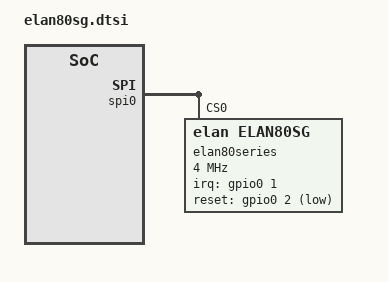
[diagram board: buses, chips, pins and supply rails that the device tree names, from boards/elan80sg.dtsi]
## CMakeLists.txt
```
# Copyright 2025 The ChromiumOS Authors
# Use of this source code is governed by a BSD-style license that can be
# found in the LICENSE file.

cmake_minimum_required(VERSION 3.13.1)
find_package(Zephyr REQUIRED HINTS "${ZEPHYR_BASE}")
project(elan80series_test)

FILE(GLOB app_sources src/*.c)
target_sources(app PRIVATE ${app_sources})

# Add fingerprint drivers directory to include fingerprint_elan80series_pal.h
target_include_directories(app PUBLIC ${PLATFORM_EC}/zephyr/drivers/fingerprint)
```

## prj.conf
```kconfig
# Copyright 2025 The ChromiumOS Authors
# Use of this source code is governed by a BSD-style license that can be
# found in the LICENSE file.

CONFIG_ZTEST=y
CONFIG_EMUL=y
CONFIG_GPIO=y
CONFIG_SPI=y
CONFIG_PM_DEVICE=y
CONFIG_FINGERPRINT_SENSOR=y
CONFIG_APPLICATION_DEFINED_SYSCALL=y
CONFIG_UART_NATIVE_PTY_0_ON_STDINOUT=y
```

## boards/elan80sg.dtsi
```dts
/* Copyright 2025 The ChromiumOS Authors
 * Use of this source code is governed by a BSD-style license that can be
 * found in the LICENSE file.
 */

#define ELAN80SG_COMMON_IMAGE_PROPS \
	width = <80>; \
	height = <80>; \
	bits-per-pixel = <14>; \
	frame-size = <12800>; \
	image-data-offset-bytes = <0>; \
	v4l2-pixel-format = "V4L2_PIX_FMT_GREY";

&spi0 {
	elan80series: elan80sg@0 {
		compatible = "elan,elan80sg";
		reg = <0>;
		spi-max-frequency = <4000000>;

		configs {
			compatible = "fingerprint-image-frame-params";
			config0 {
				ELAN80SG_COMMON_IMAGE_PROPS
				capture-type = "FINGERPRINT_CAPTURE_TYPE_VENDOR_FORMAT";
			};
			config1 {
				ELAN80SG_COMMON_IMAGE_PROPS
				capture-type = "FINGERPRINT_CAPTURE_TYPE_SIMPLE_IMAGE";
			};
			config2 {
				ELAN80SG_COMMON_IMAGE_PROPS
				capture-type = "FINGERPRINT_CAPTURE_TYPE_PATTERN0";
			};
			config3 {
				ELAN80SG_COMMON_IMAGE_PROPS
				capture-type = "FINGERPRINT_CAPTURE_TYPE_PATTERN1";
			};
			config4 {
				ELAN80SG_COMMON_IMAGE_PROPS
				capture-type = "FINGERPRINT_CAPTURE_TYPE_QUALITY_TEST";
			};
			config5 {
				ELAN80SG_COMMON_IMAGE_PROPS
				capture-type = "FINGERPRINT_CAPTURE_TYPE_RESET_TEST";
			};
		};

		irq-gpios = <&gpio0 1 GPIO_ACTIVE_HIGH>;
		reset-gpios = <&gpio0 2 GPIO_ACTIVE_LOW>;
	};
};
```

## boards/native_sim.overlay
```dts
/* Copyright 2025 The ChromiumOS Authors
 * Use of this source code is governed by a BSD-style license that can be
 * found in the LICENSE file.
 */

/ {
	chosen {
		cros-fp,fingerprint-sensor = &elan80series;
	};
};
```

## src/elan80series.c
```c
// Copyright 2025 The ChromiumOS Authors
// Use of this source code is governed by a BSD-style license that can be
// found in the LICENSE file.

#include "elan80series_pal_test_helpers.h"

#include <zephyr/device.h>
#include <zephyr/devicetree.h>
#include <zephyr/drivers/emul.h>
#include <zephyr/drivers/gpio.h>
#include <zephyr/drivers/gpio/gpio_emul.h>
#include <zephyr/fff.h>
#include <zephyr/sys/byteorder.h>
#include <zephyr/sys/util.h>
#include <zephyr/ztest.h>
#include <zephyr/ztest_assert.h>

#include <drivers/fingerprint.h>
#include <emul/emul_elan80series.h>
#include <fingerprint/v4l2_types.h>
#include <fingerprint_elan80series.h>
#include <fingerprint_elan80series_private.h>

DEFINE_FFF_GLOBALS;

struct elan80series_fixture {
	const struct device *dev;
	const struct emul *target;
};

static void *elan80series_setup(void)
{
	static struct elan80series_fixture fixture = {
		.dev = DEVICE_DT_GET(DT_NODELABEL(elan80series)),
		.target = EMUL_DT_GET(DT_NODELABEL(elan80series)),
	};

	zassert_not_null(fixture.dev);
	zassert_not_null(fixture.target);
	return &fixture;
}

/* Converts capture types from the ec domain to the fpc domain. */
enum elan_capture_type convert_fp_capture_type_to_elan_capture_type(
	enum fingerprint_capture_type mode);

#define ELAN80SERIES_IMAGE_FRAME_PARAM_INITIALIZER(idx, node_id)            \
	{                                                                   \
		.frame_size = FINGERPRINT_SENSOR_FRAME_SIZE(idx, node_id),  \
		.image_data_offset_bytes =                                  \
			FINGERPRINT_SENSOR_IMAGE_OFFSET(idx, node_id),      \
		.pixel_format =                                             \
			FINGERPRINT_SENSOR_V4L2_PIXEL_FORMAT(idx, node_id), \
		.width = FINGERPRINT_SENSOR_RES_X(idx, node_id),            \
		.height = FINGERPRINT_SENSOR_RES_Y(idx, node_id),           \
		.bpp = FINGERPRINT_SENSOR_RES_BPP(idx, node_id),            \
		.fp_capture_type =                                          \
			FINGERPRINT_SENSOR_CAPTURE_TYPE(idx, node_id),      \
		.reserved = 0,                                              \
	}

static const struct fingerprint_image_frame_params
	expected_image_frame_params_array[] = { LISTIFY(
		NUM_IMAGE_CAPTURE_TYPES,
		ELAN80SERIES_IMAGE_FRAME_PARAM_INITIALIZER, (, ),
		DT_NODELABEL(elan80series)) };

ZTEST_SUITE(elan80series, NULL, elan80series_setup, NULL, NULL, NULL);

ZTEST_F(elan80series, test_convert_fp_capture_type_to_elan_capture_type)
{
	zassert_equal(convert_fp_capture_type_to_elan_capture_type(
			      FINGERPRINT_CAPTURE_TYPE_VENDOR_FORMAT),
		      ELAN_CAPTURE_VENDOR_FORMAT);
	zassert_equal(convert_fp_capture_type_to_elan_capture_type(
			      FINGERPRINT_CAPTURE_TYPE_SIMPLE_IMAGE),
		      ELAN_CAPTURE_SIMPLE_IMAGE);
	zassert_equal(convert_fp_capture_type_to_elan_capture_type(
			      FINGERPRINT_CAPTURE_TYPE_PATTERN0),
		      ELAN_CAPTURE_PATTERN0);
	zassert_equal(convert_fp_capture_type_to_elan_capture_type(
			      FINGERPRINT_CAPTURE_TYPE_PATTERN1),
		      ELAN_CAPTURE_PATTERN1);
	zassert_equal(convert_fp_capture_type_to_elan_capture_type(
			      FINGERPRINT_CAPTURE_TYPE_QUALITY_TEST),
		      ELAN_CAPTURE_QUALITY_TEST);
	zassert_equal(convert_fp_capture_type_to_elan_capture_type(
			      FINGERPRINT_CAPTURE_TYPE_RESET_TEST),
		      ELAN_CAPTURE_RESET_TEST);
	zassert_equal(convert_fp_capture_type_to_elan_capture_type(
			      FINGERPRINT_CAPTURE_TYPE_MAX),
		      ELAN_CAPTURE_TYPE_INVALID);
}

ZTEST_F(elan80series, test_init_success)
{
	zassert_ok(fingerprint_init(fixture->dev));
}

ZTEST_F(elan80series, test_init_failure_bad_hwid)
{
	elan80series_set_hwid(fixture->target, 0x0, 0x0);
	zassert_equal(fingerprint_init(fixture->dev), -ENOTSUP);
}

ZTEST_F(elan80series, test_init_failure_spi)
{
	struct fingerprint_sensor_info sensor_info;
	struct fingerprint_image_frame_params
		image_frame_params_array[NUM_IMAGE_CAPTURE_TYPES];
	uint8_t num_params = NUM_IMAGE_CAPTURE_TYPES;

	elan80series_stop_spi(fixture->target);
	zassert_equal(fingerprint_init(fixture->dev), -ENOTSUP);
	zassert_not_ok(fingerprint_get_info(fixture->dev, &sensor_info,
					    image_frame_params_array,
					    &num_params));
	elan80series_start_spi(fixture->target);
	zassert_ok(fingerprint_get_info(fixture->dev, &sensor_info,
					image_frame_params_array, &num_params));
	zassert_equal(sensor_info.errors,
		      (FINGERPRINT_ERROR_DEAD_PIXELS_UNKNOWN |
		       FINGERPRINT_ERROR_SPI_COMM | FINGERPRINT_ERROR_BAD_HWID |
		       FINGERPRINT_ERROR_INIT_FAIL));
}

ZTEST_F(elan80series, test_get_info)
{
	struct fingerprint_sensor_info sensor_info;
	struct fingerprint_image_frame_params
		image_frame_params_array[NUM_IMAGE_CAPTURE_TYPES];
	uint8_t num_params = NUM_IMAGE_CAPTURE_TYPES;

	/* We need to initialize driver first to initialize 'error' field */
	zassert_ok(fingerprint_init(fixture->dev));
	zassert_ok(fingerprint_get_info(fixture->dev, &sensor_info,
					image_frame_params_array, &num_params));
	zassert_equal(
		num_params, NUM_IMAGE_CAPTURE_TYPES,
		"fingerprint_get_info returned an unexpected number of params");

#if defined(CONFIG_FINGERPRINT_SENSOR_ELAN80SG)
	zassert_equal(sensor_info.product_id, 0x0903);
	zassert_equal(sensor_info.model_id, 0x4f4f);
	zassert_equal(sensor_info.version, 0x100B);
#endif
	zassert_equal(sensor_info.vendor_id, FOURCC('E', 'L', 'A', 'N'));
	zassert_equal(sensor_info.errors,
		      FINGERPRINT_ERROR_DEAD_PIXELS_UNKNOWN);

	for (int i = 0; i < NUM_IMAGE_CAPTURE_TYPES; ++i) {
		zassert_equal(
			memcmp(&image_frame_params_array[i],
			       &expected_image_frame_params_array[i],
			       sizeof(struct fingerprint_image_frame_params)),
			0, "Struct comparison failed at index %d", i);
	}
}

ZTEST_F(elan80series, test_deinit_success)
{
	zassert_ok(fingerprint_deinit(fixture->dev));
}

ZTEST_F(elan80series, test_enter_idle)
{
	zassert_ok(fingerprint_set_mode(fixture->dev,
					FINGERPRINT_SENSOR_MODE_IDLE));
}

ZTEST_F(elan80series, test_invalid_mode_not_supported)
{
	zassert_equal(fingerprint_set_mode(fixture->dev, UINT16_MAX), -ENOTSUP);
}

ZTEST_F(elan80series, test_maintenance_image_small_buffer_size)
{
	uint8_t buffer[CONFIG_FINGERPRINT_SENSOR_IMAGE_SIZE - 1];

	zassert_equal(fingerprint_maintenance(fixture->dev, buffer,
					      sizeof(buffer)),
		      -EINVAL);
}

ZTEST_F(elan80series, test_maintenance_not_supported)
{
	uint8_t buffer[CONFIG_FINGERPRINT_SENSOR_IMAGE_SIZE];

	zassert_equal(fingerprint_maintenance(fixture->dev, buffer,
					      sizeof(buffer)),
		      0);
}

ZTEST_F(elan80series, test_finger_status_not_supported)
{
	zassert_equal(fingerprint_finger_status(fixture->dev), -ENOTSUP);
}

FAKE_VOID_FUNC(test_interrupt_handler, const struct device *);

ZTEST_F(elan80series, test_interrupt)
{
	const struct gpio_dt_spec spec =
		GPIO_DT_SPEC_GET(DT_NODELABEL(elan80series), irq_gpios);

	RESET_FAKE(test_interrupt_handler);
	zassert_ok(fingerprint_config(fixture->dev, test_interrupt_handler));

	/* Enable interrupt (they are disabled by default). */
	zassert_ok(gpio_pin_interrupt_configure_dt(&spec,
						   GPIO_INT_EDGE_TO_ACTIVE));

	/*
	 * Toggle the GPIO twice. We expect that the driver will disable
	 * interrupt in interrupt handler, so handler should be called once.
	 */
	for (int i = 0; i < 2; i++) {
		gpio_emul_input_set(spec.port, spec.pin, 1);
		k_msleep(5);
		gpio_emul_input_set(spec.port, spec.pin, 0);
		k_msleep(5);
	}

	/* Verify the handler was called once. */
	zassert_equal(test_interrupt_handler_fake.call_count, 1);
}

ZTEST_F(elan80series, test_acquire_image_not_supported)
{
	uint8_t buffer[CONFIG_FINGERPRINT_SENSOR_IMAGE_SIZE];

	zassert_equal(fingerprint_acquire_image(fixture->dev, 0, buffer,
						sizeof(buffer)),
		      -ENOTSUP);
}

ZTEST_F(elan80series, test_acquire_image_small_buffer_size)
{
	uint8_t buffer[CONFIG_FINGERPRINT_SENSOR_IMAGE_SIZE] = { 0 };
	size_t image_buf_size = CONFIG_FINGERPRINT_SENSOR_IMAGE_SIZE - 1;
	enum fingerprint_capture_type capture_type =
		FINGERPRINT_CAPTURE_TYPE_VENDOR_FORMAT;

	zassert_equal(fingerprint_acquire_image(fixture->dev, capture_type,
						buffer, image_buf_size),
		      -EINVAL);
}

ZTEST_F(elan80series, test_acquire_image_wrong_capture_type)
{
	uint8_t buffer[CONFIG_FINGERPRINT_SENSOR_IMAGE_SIZE] = { 0 };
	enum fingerprint_capture_type capture_type =
		FINGERPRINT_CAPTURE_TYPE_MAX;

	zassert_equal(fingerprint_acquire_image(fixture->dev, capture_type,
						buffer, sizeof(buffer)),
		      -EINVAL);
}

ZTEST_F(elan80series, test_elan_read_register)
{
	uint8_t hwid_lo_cmd = 0x04;
	uint8_t hwid_hi_cmd = 0x02;
	uint8_t regdata = 0;
	uint8_t expected_hwid_lo_regdata = 0x4F;
	uint8_t expected_hwid_hi_regdata = 0x4F;

	zassert_ok(elan80series_pal_read_register(hwid_lo_cmd, &regdata));
	zassert_equal(expected_hwid_lo_regdata, regdata);

	zassert_ok(elan80series_pal_read_register(hwid_hi_cmd, &regdata));
	zassert_equal(expected_hwid_hi_regdata, regdata);
}

ZTEST_F(elan80series, test_elan_read_register_spi_stoppped)
{
	uint8_t hwid_lo_cmd = 0x04;
	uint8_t regdata = 0;

	elan80series_stop_spi(fixture->target);
	zassert_equal(elan80series_pal_read_register(hwid_lo_cmd, &regdata),
		      -EIO);
}

ZTEST_F(elan80series, test_elan_read_cmd)
{
	uint8_t cmd_hwid_lo_cmd = 0x44;
	uint8_t cmd_hwid_hi_cmd = 0x42;
	uint8_t regdata = 0;
	uint8_t expected_hwid_lo_regdata = 0x4F;
	uint8_t expected_hwid_hi_regdata = 0x4F;

	zassert_ok(elan80series_pal_read_cmd(cmd_hwid_lo_cmd, &regdata));
	zassert_equal(expected_hwid_lo_regdata, regdata);

	zassert_ok(elan80series_pal_read_cmd(cmd_hwid_hi_cmd, &regdata));
	zassert_equal(expected_hwid_hi_regdata, regdata);
}

ZTEST_F(elan80series, test_elan_read_cmd_spi_stoppped)
{
	uint8_t cmd_hwid_lo_cmd = 0x44;
	uint8_t regdata = 0;

	elan80series_stop_spi(fixture->target);
	zassert_equal(elan80series_pal_read_cmd(cmd_hwid_lo_cmd, &regdata),
		      -EIO);
}

ZTEST_F(elan80series, test_elan_usleep)
{
	uint64_t usecs = 30000;
	uint64_t tick_usecs = USEC_PER_SEC / CONFIG_SYS_CLOCK_TICKS_PER_SEC;
	uint64_t t1, t2;

	/* k_uptime_get() returns system uptime in milliseconds. */
	t1 = k_uptime_get();
	zassert_ok(elan80series_pal_usleep(usecs));
	t2 = k_uptime_get();

	zassert_within((t2 - t1) * USEC_PER_MSEC, usecs, tick_usecs);
}

ZTEST_F(elan80series, test_pal_get_tick)
{
	zassert_equal(elan80series_pal_get_tick(), k_uptime_get_32());
}

ZTEST_F(elan80series, test_elan_malloc)
{
	size_t size = sizeof(int);
	void *void_ptr = elan80series_pal_malloc(size);
	zassert_not_null(void_ptr, "sys_alloc should return a valid pointer");

	int *int_ptr = (int *)void_ptr;
	int num = 4546;
	*int_ptr = num;
	zassert_equal(*int_ptr, num);

	elan80series_pal_free(void_ptr);
}

static ZTEST_DMEM volatile int expected_reason = -1;

void k_sys_fatal_error_handler(unsigned int reason, const struct arch_esf *pEsf)
{
	printk("Caught system error -- reason %d\n", reason);

	zassert_not_equal(expected_reason, -1, "Unexpected crash");
	zassert_equal(reason, expected_reason,
		      "Wrong crash type got %d expected %d\n", reason,
		      expected_reason);

	expected_reason = -1;
	ztest_test_pass();
}

ZTEST_F(elan80series, test_pal_oops_on_memory_alloc_fail)
{
	expected_reason = K_ERR_KERNEL_OOPS;
	elan80series_pal_malloc(
		CONFIG_FINGERPRINT_SENSOR_ELAN80SERIES_HEAP_SIZE);

	ztest_test_fail();
}

ZTEST_F(elan80series, test_pal_reset_pin)
{
	const struct gpio_dt_spec reset_pin =
		GPIO_DT_SPEC_GET(DT_NODELABEL(elan80series), reset_gpios);

	/* Reset is active when GPIO output is low. */
	elan80series_pal_sensor_set_rst(true);
	zassert_equal(gpio_emul_output_get(reset_pin.port, reset_pin.pin), 0);

	/* Reset is inactive when GPIO output is high. */
	elan80series_pal_sensor_set_rst(false);
	zassert_equal(gpio_emul_output_get(reset_pin.port, reset_pin.pin), 1);
}
```

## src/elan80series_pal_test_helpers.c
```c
/* Copyright 2025 The ChromiumOS Authors
 * Use of this source code is governed by a BSD-style license that can be
 * found in the LICENSE file.
 */

#include "elan80series_pal_test_helpers.h"

int z_impl_elan80series_pal_usleep(unsigned int us)
{
	return elan_usleep(us);
}

void *z_impl_elan80series_pal_malloc(uint32_t size)
{
	return elan_malloc(size);
}

void z_impl_elan80series_pal_free(void *data)
{
	return elan_free(data);
}

uint32_t z_impl_elan80series_pal_get_tick(void)
{
	return elan_get_tick();
}

void z_impl_elan80series_pal_sensor_set_rst(bool state)
{
	return elan_sensor_set_rst(state);
}

int z_impl_elan80series_pal_read_register(uint8_t regaddr, uint8_t *regdata)
{
	return elan_read_register(regaddr, regdata);
}

int z_impl_elan80series_pal_read_cmd(uint8_t fp_cmd, uint8_t *regdata)
{
	return elan_read_cmd(fp_cmd, regdata);
}
```

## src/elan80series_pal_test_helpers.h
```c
/* Copyright 2025 The ChromiumOS Authors
 * Use of this source code is governed by a BSD-style license that can be
 * found in the LICENSE file.
 */

#ifndef ZEPHYR_TEST_DRIVERS_ELAN80SERIES_SRC_TEST_HELPERS_H_
#define ZEPHYR_TEST_DRIVERS_ELAN80SERIES_SRC_TEST_HELPERS_H_

#include <zephyr/kernel.h>

#include <fingerprint_elan80series_pal.h>

__syscall int elan80series_pal_usleep(unsigned int us);
__syscall void *elan80series_pal_malloc(uint32_t size);
__syscall void elan80series_pal_free(void *data);
__syscall uint32_t elan80series_pal_get_tick(void);
__syscall void elan80series_pal_sensor_set_rst(bool state);
__syscall int elan80series_pal_read_register(uint8_t regaddr, uint8_t *regdata);
__syscall int elan80series_pal_read_cmd(uint8_t fp_cmd, uint8_t *regdata);

#include <zephyr/syscalls/elan80series_pal_test_helpers.h>

#endif /* ZEPHYR_TEST_DRIVERS_ELAN80SERIES_SRC_TEST_HELPERS_H_ */
```
